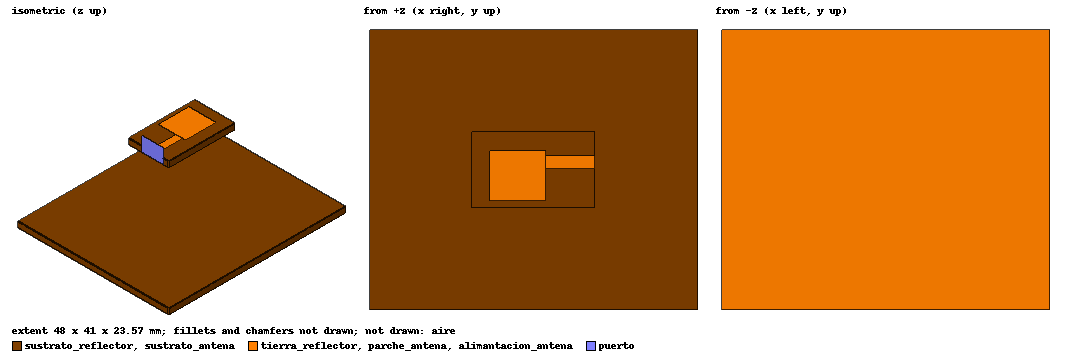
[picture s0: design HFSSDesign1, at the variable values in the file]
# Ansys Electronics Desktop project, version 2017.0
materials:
  vacuum: permittivity=1
  FR4_epoxy: permittivity=4.4 dielectric_loss_tangent=0.02
  copper: permeability=0.999991 conductivity=58000000
  air: permittivity=1.0006 permeability=1.0000004

design HFSSDesign1 (HFSS, DrivenModal, model units mm)
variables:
  array = [11, 18, 2.5, 5.6, 7.36, 8.28, 2.7, 3.5, 1.8, 18, 41, 48, 1.57, 0.017, 1.57] mm
  center_antenna_Y = (array[10]-array[0])/2
  center_antenna_X = (array[11]-array[1])/2
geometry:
  sustrato_reflector [FR4_epoxy] = box(corner=(0mm, 0mm, -array[9]), size=(array[11], array[10], -array[14]))
  tierra_reflector [copper] = box(corner=(0mm, 0mm, -array[9]-array[14]), size=(array[11], array[10], array[13]))
  sustrato_antena [FR4_epoxy] = box(corner=(center_antenna_X, center_antenna_Y, 0mm), size=(array[1], array[0], array[12]))
  tierra_antena [copper] = box(corner=(center_antenna_X, center_antenna_Y, 0mm), size=(array[1], array[0], -array[13]))
  tierra_antena_2 = box(corner=(center_antenna_X+array[2], center_antenna_Y, 0mm), size=(array[1]-array[2]-array[3], array[0]-array[6], -array[13]))
  tierra_antena.subtract(tierra_antena_2)
  alimantacion_antena [copper] = box(corner=(center_antenna_X+array[2]+array[5], center_antenna_Y+array[0]-array[7]-array[8], array[12]), size=(array[1]-array[2]-array[5], array[8], array[13]))
  parche_antena [copper] = box(corner=(center_antenna_X+array[2], center_antenna_Y+array[0]-array[6]-array[4], array[12]), size=(array[5], array[4], array[13]))
  parche_antena.fillet(Edges=parche_antena.edge(9 of 12) Radius=array[4] Setback=0mm)
  puerto = rectangle(corner=(center_antenna_X+array[1], center_antenna_Y+array[0]-array[7]-(array[8]/2)-(6mm/2), 0mm), y_size=6mm, z_size=4mm)
  aire [air] = box(corner=(0mm, 0mm, -array[9]-array[14]-array[13]-4mm), size=(array[11], array[10], (array[9]+array[14]+array[13]+4mm)*2))
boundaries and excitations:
  Rad1: Radiation Objects=aire
  1: Lumped Port Objects=puerto Modes{Mode1{IntLine{middle of puerto.edge(z at corner) -> middle of puerto.edge(z opposite corner)} CharImp=Zpi RenormImp=50ohm}} Impedance=50ohm
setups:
  Setup1: HfssDriven Frequency=7.5GHz MaxDeltaS=0.02 MaximumPasses=15 MinimumPasses=1 MinimumConvergedPasses=2 PercentRefinement=30 BasisOrder=1 PortAccuracy=2 RayDensityPerWavelength=4 MaxNumberOfBounces=5
    sweep Sweep: 1GHz to 15GHz step 10MHz; Type=Fast SaveFields
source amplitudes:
  1:1: 1W 0deg
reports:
  XY Plot 1: dB(S(1,1)) vs Freq on Setup1 : Sweep
